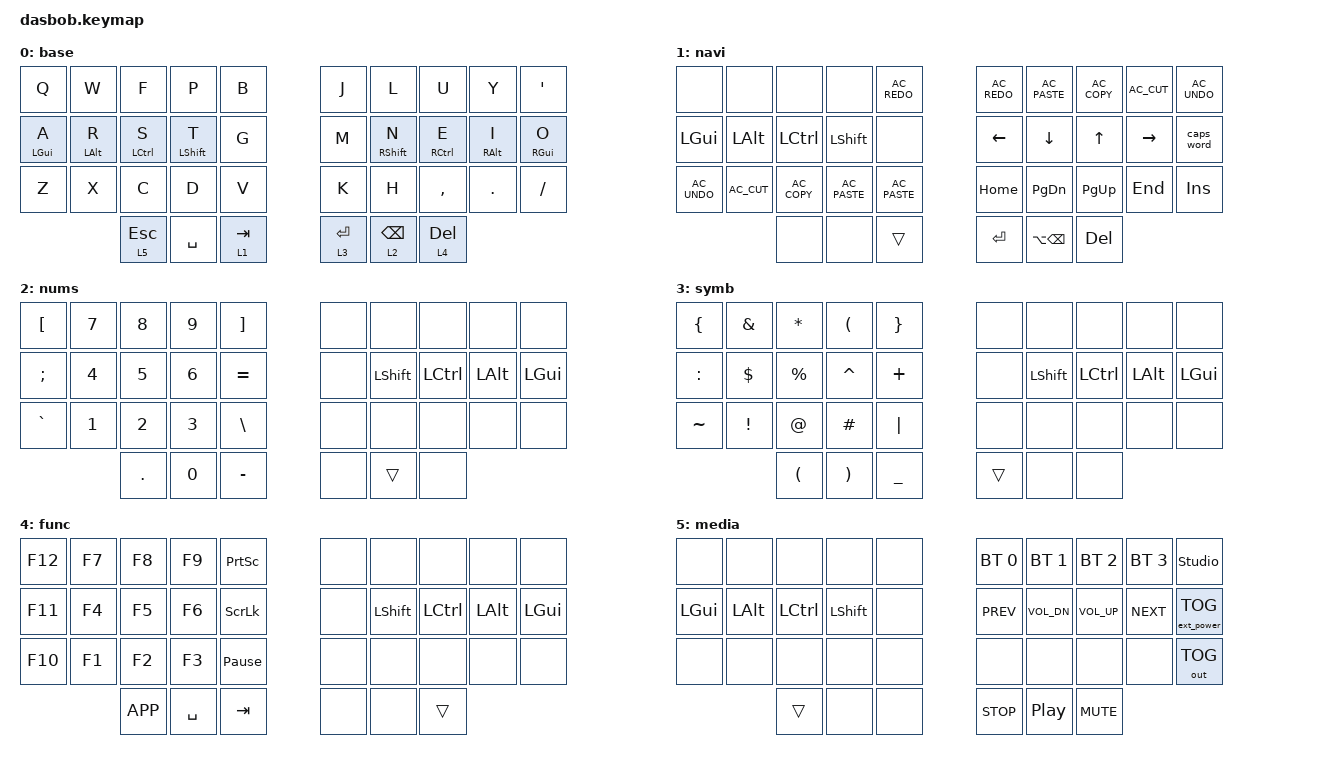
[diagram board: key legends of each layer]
#include <behaviors.dtsi>
#include <dt-bindings/zmk/bt.h>
#include <dt-bindings/zmk/ext_power.h>
#include <dt-bindings/zmk/keys.h>
#include <dt-bindings/zmk/outputs.h>

/ {
    behaviors {
        hrml: hrml {
            compatible = "zmk,behavior-hold-tap";
            label = "HRML";
            bindings = <&kp>, <&kp>;

            #binding-cells = <2>;
            flavor = "tap-preferred";
            hold-trigger-key-positions = <6 7 8 9 10 11 18 19 20 21 22 23 30 31 32 33 34 35 39 40 41 38 37 36>;
            hold-trigger-on-release;
            tapping-term-ms = <280>;
            quick-tap-ms = <175>;
            require-prior-idle-ms = <150>;
        };

        hrmr: hrmr {
            compatible = "zmk,behavior-hold-tap";
            label = "HRMR";
            bindings = <&kp>, <&kp>;

            #binding-cells = <2>;
            flavor = "tap-preferred";
            hold-trigger-on-release;
            tapping-term-ms = <280>;
            quick-tap-ms = <175>;
            require-prior-idle-ms = <150>;
            hold-trigger-key-positions = <0 1 2 3 4 5 12 13 14 15 16 17 24 25 26 27 28 29 36 37 38 39 40 41>;
        };
    };

    keymap {
        compatible = "zmk,keymap";

        base {
            display-name = "base";
            bindings = <
                &kp Q         &kp W         &kp F          &kp P           &kp B        &kp J        &kp L           &kp U          &kp Y         &kp SQT
                &hrml LGUI A  &hrml LALT R  &hrml LCTRL S  &hrml LSHIFT T  &kp G        &kp M        &hrmr RSHIFT N  &hrmr RCTRL E  &hrmr RALT I  &hrmr RGUI O
                &kp Z         &kp X         &kp C          &kp D           &kp V        &kp K        &kp H           &kp COMMA      &kp DOT       &kp FSLH
                                            &lt 5 ESC      &kp SPACE       &lt 1 TAB    &lt 3 ENTER  &lt 2 BSPC      &lt 4 DEL
            >;

            label = "base";
        };

        navi {
            display-name = "navi";
            bindings = <
                &none          &none         &none          &none           &kp C_AC_REDO     &kp C_AC_REDO  &kp C_AC_PASTE     &kp C_AC_COPY  &kp C_AC_CUT  &kp C_AC_UNDO
                &kp LGUI       &kp LALT      &kp LCTRL      &kp LSHIFT      &none             &kp LEFT       &kp DOWN           &kp UP_ARROW   &kp RIGHT     &caps_word
                &kp C_AC_UNDO  &kp C_AC_CUT  &kp C_AC_COPY  &kp C_AC_PASTE  &kp C_AC_PASTE    &kp HOME       &kp PAGE_DOWN      &kp PG_UP      &kp END       &kp INS
                                             &none          &none           &trans            &kp ENTER      &kp LA(BACKSPACE)  &kp DEL
            >;

            label = "navi";
        };

        nums {
            display-name = "nums";
            bindings = <
                &kp LBKT   &kp N7  &kp N8   &kp N9  &kp RBKT     &none  &none      &none      &none     &none   
                &kp SEMI   &kp N4  &kp N5   &kp N6  &kp EQUAL    &none  &kp LSHFT  &kp LCTRL  &kp LALT  &kp LGUI
                &kp GRAVE  &kp N1  &kp N2   &kp N3  &kp BSLH     &none  &none      &none      &none     &none
                                   &kp DOT  &kp N0  &kp MINUS    &none  &trans     &none
            >;

            label = "nums";
        };

        symb {
            display-name = "symb";
            bindings = <
                &kp LBRC   &kp AMPS  &kp ASTRK  &kp LPAR   &kp RBRC     &none   &none      &none      &none     &none
                &kp COLON  &kp DLLR  &kp PRCNT  &kp CARET  &kp PLUS     &none   &kp LSHFT  &kp LCTRL  &kp LALT  &kp LGUI
                &kp TILDE  &kp EXCL  &kp AT     &kp HASH   &kp PIPE     &none   &none      &none      &none     &none
                                    &kp LPAR   &kp RPAR   &kp UNDER    &trans  &none      &none
            >;

            label = "symb";
        };

        func {
            display-name = "func";
            bindings = <
                &kp F12  &kp F7  &kp F8     &kp F9     &kp PSCRN          &none  &none      &none      &none     &none
                &kp F11  &kp F4  &kp F5     &kp F6     &kp SLCK           &none  &kp LSHFT  &kp LCTRL  &kp LALT  &kp LGUI
                &kp F10  &kp F1  &kp F2     &kp F3     &kp PAUSE_BREAK    &none  &none      &none      &none     &none
                                &kp K_APP  &kp SPACE  &kp TAB            &none  &none      &trans
            >;

            label = "func";
        };

        media {
            display-name = "media";
            bindings = <
                &none     &none     &none      &none      &none    &bt BT_SEL 0  &bt BT_SEL 1  &bt BT_SEL 2  &bt BT_SEL 3  &studio_unlock
                &kp LGUI  &kp LALT  &kp LCTRL  &kp LSHFT  &none    &kp C_PREV    &kp C_VOL_DN  &kp C_VOL_UP  &kp C_NEXT    &ext_power EP_TOG
                &none     &none     &none      &none      &none    &none         &none         &none         &none         &out OUT_TOG
                                    &trans     &none      &none    &kp C_STOP    &kp C_PP      &kp C_MUTE
            >;

            label = "media";
        };
    };
};
